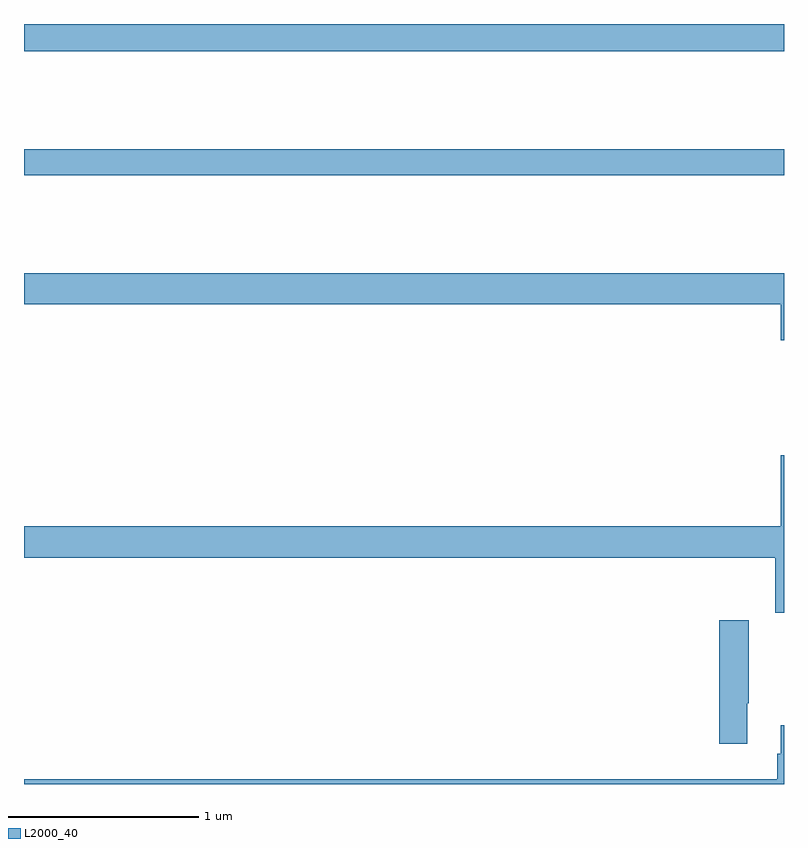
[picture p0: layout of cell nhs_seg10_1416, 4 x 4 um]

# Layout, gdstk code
import gdstk
lib = gdstk.Library(unit=1e-6, precision=1e-09)
def R(c, l, rs):  # rectangles x0, y0, x1, y1
    for r in rs: c.add(gdstk.rectangle(r[:2], r[2:], *l))
def P(c, l, *ps):  # polygons
    for p in ps: c.add(gdstk.Polygon(p, *l))
L2000_40 = (2000, 40)

nhs_seg10_1416 = lib.new_cell('nhs_seg10_1416')
R(nhs_seg10_1416, L2000_40, [(185,1259.704,189,1259.84), (185,1260.356,189,1260.5)])
P(nhs_seg10_1416, L2000_40, [(189,1259.188),(185,1259.188),(185,1259.024),(188.984,1259.024),(188.984,1258.836),(189,1258.836)],
  [(189,1258.231),(188.984,1258.231),(188.984,1257.856),(185,1257.856),(185,1257.692),(188.954,1257.692),(188.954,1257.402),(189,1257.402)],
  [(188.806,1256.924),(188.814,1256.924),(188.814,1257.361),(188.66,1257.361),(188.66,1256.712),(188.806,1256.712)],
  [(189,1256.809),(188.984,1256.809),(188.984,1256.658),(188.965,1256.658),(188.965,1256.524),(185,1256.524),(185,1256.5),(189,1256.5)])

lib.write_gds('nhs_seg10_1416.gds')
